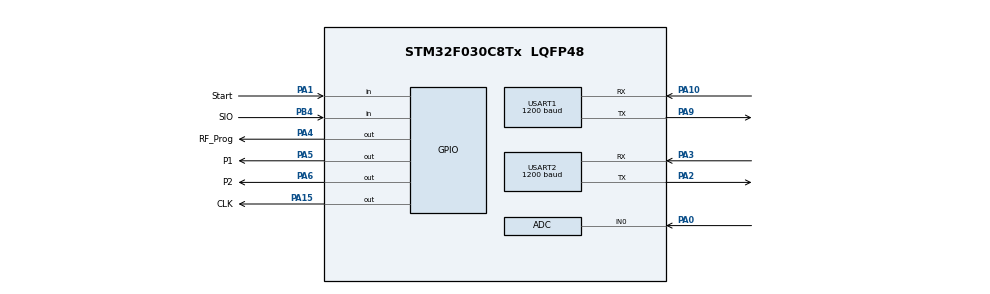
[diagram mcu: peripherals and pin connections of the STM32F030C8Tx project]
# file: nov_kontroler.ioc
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ADC.SamplingTime=ADC_SAMPLETIME_55CYCLES_5
IWDG.Prescaler=IWDG_PRESCALER_256
Mcu.Family=STM32F0
Mcu.Name=STM32F030C8Tx
Mcu.Package=LQFP48
NVIC.ADC1_IRQn=true\:0\:0\:false\:false\:true\:true\:true\:true
NVIC.USART1_IRQn=true\:0\:0\:false\:false\:true\:true\:true\:true
NVIC.USART2_IRQn=true\:0\:0\:false\:false\:true\:true\:true\:true
PA0.Mode=IN0
PA0.Signal=ADC_IN0
PA1.GPIO_Label=Start
PA1.GPIO_PuPd=GPIO_PULLUP
PA1.Signal=GPIO_Input
PA10.GPIO_PuPd=GPIO_PULLUP
PA10.Mode=Asynchronous
PA10.Signal=USART1_RX
PA13.Mode=Serial_Wire
PA13.Signal=SYS_SWDIO
PA14.Mode=Serial_Wire
PA14.Signal=SYS_SWCLK
PA15.GPIO_Label=CLK
PA15.Signal=GPIO_Output
PA2.Mode=Asynchronous
PA2.Signal=USART2_TX
PA3.GPIO_PuPd=GPIO_PULLUP
PA3.Mode=Asynchronous
PA3.Signal=USART2_RX
PA4.GPIO_Label=RF_Prog
PA4.PinState=GPIO_PIN_SET
PA4.Signal=GPIO_Output
PA5.GPIO_Label=P1
PA5.Signal=GPIO_Output
PA6.GPIO_Label=P2
PA6.Signal=GPIO_Output
PA9.Mode=Asynchronous
PA9.Signal=USART1_TX
PB4.GPIO_Label=SIO
PB4.Signal=GPIO_Input
ProjectManager.HeapSize=0x200
ProjectManager.StackSize=0x400
ProjectManager.TargetToolchain=STM32CubeIDE
TIM1.Prescaler=0
TIM17.Period=0xFFFF
USART1.BaudRate=1200
USART1.DMADisableonRxErrorParam=ADVFEATURE_DMA_DISABLEONRXERROR
USART1.OverSampling=UART_OVERSAMPLING_8
USART1.VirtualMode-Asynchronous=VM_ASYNC
USART2.BaudRate=1200
USART2.DMADisableonRxErrorParam=ADVFEATURE_DMA_DISABLEONRXERROR
USART2.OneBitSampling=UART_ONE_BIT_SAMPLE_DISABLE
USART2.OverSampling=UART_OVERSAMPLING_8
USART2.RxPinLevelInvertParam=ADVFEATURE_RXINV_DISABLE
USART2.StopBits=STOPBITS_1
USART2.TxPinLevelInvertParam=ADVFEATURE_TXINV_DISABLE
USART2.VirtualMode-Asynchronous=VM_ASYNC
VP_IWDG_VS_IWDG.Mode=IWDG_Activate
VP_RTC_VS_RTC_Activate.Mode=RTC_Enabled
VP_TIM17_VS_ClockSourceINT.Mode=Enable_Timer
VP_TIM1_VS_ClockSourceINT.Mode=Internal
board=custom

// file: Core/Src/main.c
/* USER CODE BEGIN Header */
/**
  ******************************************************************************
  * @file           : main.c
  * @brief          : Main program body
  ******************************************************************************
  * @attention
  *
  * <h2><center>&copy; Copyright (c) 2024 STMicroelectronics.
  * All rights reserved.</center></h2>
  *
  * This software component is licensed by ST under BSD 3-Clause license,
  * the "License"; You may not use this file except in compliance with the
  * License. You may obtain a copy of the License at:
  *                        opensource.org/licenses/BSD-3-Clause
  *
  ******************************************************************************
  */
/* USER CODE END Header */
#include "main.h"

/* USER CODE BEGIN Includes */
#include "../../Drivers/tm1637.h"
#include "eeprom.h"
#include "math.h"
#include "stdlib.h"
/* USER CODE END Includes */

/* USER CODE BEGIN PD */
// Virtual addreses
#define ADDRESS_HOURS_H		1
#define ADDRESS_HOURS_L		2
#define ADDRESS_MINUTES		3
#define ADDRESS_ADDRESSE	4
#define ADDRESS_PRE_TIME	5
#define ADDRESS_COOL_TIME	6
#define ADDRESS_RF_CHANNEL	7
#define ADDRESS_TEMP_MIN	8
#define ADDRESS_TEMP_MAX	9

#define FLASH_DIVIDER  0x10

// Buttons
#define BUTTON_START     (1)
#define BUTTON_PLUS      (2)
#define BUTTON_STOP      (3)
#define BUTTON_MINUS     (4)

#define STATUS_FREE    (0L)
#define STATUS_WAITING (3L)
#define STATUS_WORKING (1L)
#define STATUS_COOLING (2L)
#define MULTIPLIER     (1)
#define START_COUNTER_TIME  (1000L*MULTIPLIER)
#define ENTER_SERVICE_DELAY (500L*MULTIPLIER)
#define SERVICE_NEXT_DELAY  (100*MULTIPLIER)
#define EXIT_SERVICE_TIME   (3000L*MULTIPLIER)

/* USER CODE END PD */

ADC_HandleTypeDef hadc;

IWDG_HandleTypeDef hiwdg;

RTC_HandleTypeDef hrtc;

TIM_HandleTypeDef htim1;
TIM_HandleTypeDef htim17;

UART_HandleTypeDef huart1;
UART_HandleTypeDef huart2;

/* USER CODE BEGIN PV */
typedef enum states {state_show_time,state_set_time,state_show_hours,state_enter_service,state_clear_hours,state_address,state_pre_time,state_cool_time, state_rf_channel}states;
states state;
typedef enum modes {mode_null,mode_clear_hours,mode_set_address,mode_set_pre_time,mode_set_cool_time,mode_set_rf_channel}modes;
modes service_mode;
static uint8_t update_HC12_requested = 0;
uint8_t current_state = 0;
static uint16_t seconds_counter;
static uint16_t minutes_counter;
static uint16_t msec_counter=0;

unsigned char controller_address = 0x0e;
int curr_status;
int prev_status;

int flash_counter = 0;
volatile uint32_t g_ADCValue;
volatile uint32_t raw_temp;
volatile uint32_t g_ADCMeanValue;
uint32_t g_MeasurementNumber;
uint32_t g_Temperature;

uint8_t data = 0;
unsigned int   time_to_set = 0;
unsigned int   work_hours[3] = {0,0,0}; //HH HL MM - Hours[2], Minutes[1]
unsigned char  preset_pre_time = 7;
unsigned char  preset_cool_time = 3;
unsigned char  temp_min_threshold;
unsigned char  temp_max_threshold;
unsigned char  rf_channel = 0;
unsigned char  lamps_mode = 0;
unsigned char  temperature_current;
unsigned char  last_rx_address;
unsigned int   error_code;
int flash_mode = 0;
int start_counter = 0;
int last_button = 0;
int prev_button = 0;
display_data_t display_data = {0,0,0,0,255};

// Timers in seconds
int pre_time;
int main_time;
int cool_time;
// Current time counter in seconds
int *curr_time = &pre_time;
int useUart=0;

unsigned int Gv_miliseconds = 0;
int Gv_UART_Timeout = 1000; // Timeout in mSec
int pre_time_sent = 0, main_time_sent = 0, cool_time_sent = 0;
int rx_state= 0;

flash_struct flash_data;
uint16_t VirtAddVarTab[] = {1,2,3,4,5,6,7,8,9,10,11,12,13,14};//sizeof(flash_data)/2];

/* USER CODE END PV */

void SystemClock_Config(void);
static void MX_GPIO_Init(void);
static void MX_ADC_Init(void);
static void MX_IWDG_Init(void);
static void MX_TIM1_Init(void);
static void MX_USART1_UART_Init(void);
static void MX_USART2_UART_Init(void);
static void MX_RTC_Init(void);
static void MX_TIM17_Init(void);
/* USER CODE BEGIN PFP */

void update_status(void);
void process_key(uint8_t key);
void ProcessButtons(void);
void new_read_eeprom(void);
void new_write_eeprom(void);
float analog2tempBed(int raw);
int ToBCD(unsigned int value);
int FromBCD(int value);
void write_stored_time(void);
void write_settings(void);
void read_settings(void);
void SetDisplayDataInt(unsigned value);
void relay_fan_on();
void relay_fan_off();
void relay_lampi_on();
void relay_lampi_off();
void UART_RxISR(UART_HandleTypeDef *huart);

/* USER CODE END PFP */

/* USER CODE BEGIN 0 */

HAL_StatusTypeDef HC12_SetParams(uint8_t channel)
{
    if (channel < 1 || channel > 127)
        return HAL_ERROR;

    static const char setPowerCmd[] = "AT+P4\r\n";
    char chanCmd[10];   // only needs ~7 bytes, but this is still tiny
    HAL_GPIO_WritePin(GPIOA, RF_Prog_Pin, GPIO_PIN_RESET);
    HAL_Delay(100);
    // Send power command
    if (HAL_UART_Transmit(&huart1, (uint8_t*)setPowerCmd, sizeof(setPowerCmd)-1, 100) != HAL_OK)
        return HAL_ERROR;

    HAL_Delay(100);

    // Build channel command: "AT+C###\r\n"
    chanCmd[0] = 'A';
    chanCmd[1] = 'T';
    chanCmd[2] = '+';
    chanCmd[3] = 'C';
    chanCmd[4] = (channel / 100) + '0';
    chanCmd[5] = ((channel / 10) % 10) + '0';
    chanCmd[6] = (channel % 10) + '0';
    chanCmd[7] = '\r';
    chanCmd[8] = '\n';
    chanCmd[9] = '\0'; // safety / not required by HAL
    HAL_StatusTypeDef status = HAL_UART_Transmit(&huart1, (uint8_t*)chanCmd, 9, 100);
    HAL_Delay(100);
    HAL_GPIO_WritePin(GPIOA, RF_Prog_Pin, GPIO_PIN_RESET);
    if(status!= HAL_OK)
        return HAL_ERROR;

    return HAL_OK;
}

void delay_us (uint16_t us)
{
	__HAL_TIM_SET_COUNTER(&htim17,0);  // set the counter value a 0
	while (__HAL_TIM_GET_COUNTER(&htim17) < us);  // wait for the counter to reach the us input in the parameter
}
/* USER CODE END 0 */

int main(void)
{
	__disable_irq();

  /* MCU Configuration--------------------------------------------------------*/

  /* Reset of all peripherals, Initializes the Flash interface and the Systick. */
  HAL_Init();

  /* Configure the system clock */
  SystemClock_Config();

  __disable_irq();

  /* Initialize all configured peripherals */
  MX_GPIO_Init();
  MX_ADC_Init();
  MX_IWDG_Init();
  MX_TIM1_Init();
  MX_USART1_UART_Init();
  MX_USART2_UART_Init();
  MX_RTC_Init();
  MX_TIM17_Init();
  /* USER CODE BEGIN 2 */
  __enable_irq();
  TM1637_init(true,TM1637_BRIGHTNESS_MAX);
  HAL_Delay(100);
  TM1637_init(true,TM1637_BRIGHTNESS_MAX);
  TM1637_display_digit(0,10);
  TM1637_display_digit(1,11);
  TM1637_display_digit(2,12);
  TM1637_display_digit(3,0);
  EE_Init();
  read_settings();
  /* USER CODE END 2 */

  /* Infinite loop */
  /* USER CODE BEGIN WHILE */
  while (1)
  {
    static uint8_t colon;
    colon++;
	HAL_Delay(10);
	HAL_UART_Receive_IT(&huart2, &data, 1);
	HAL_UART_Receive_IT(&huart1, &data, 1);

    /* USER CODE END WHILE */

    /* USER CODE BEGIN 3 */

	last_button = TM1637_getKeys();
	if(HAL_GPIO_ReadPin(Start_GPIO_Port, Start_Pin) == 0){
		last_button |= BUTTON_START;
	}
//	if(button > 0) {
//		TM1637_display_digit(3,key);
//	}

	//-------------------

	if ((state < state_enter_service) && ((flash_counter >> 4) & 1))
	{
//		if (controller_address == 15) {
//			external_read = (external_read << 1) | (!!(GPIOB->IDR & GPIO_IDR_IDR7));
//			if (!main_time && (!external_read)) {
//				if (curr_status != STATUS_COOLING) {
//					main_time = -1;
//					cool_time = preset_cool_time;
//					Gv_miliseconds = 0;
//					flash_mode = 0;
//					state = state_set_time;
//					update_status();
//				}
//			}
//			if (main_time && !~external_read) {
//				main_time = 0;
//				Gv_miliseconds = 0;
//				update_status();
//			}
//		}
	}
	HAL_GPIO_TogglePin(GPIOB, GPIO_PIN_9);
	ProcessButtons();
	switch (state) {
	case state_show_time:
	case state_set_time:
		if (!pre_time && !main_time && !cool_time) {
			flash_mode = 0;
			state = state_set_time;
			SetDisplayDataMinSec(time_to_set*60);
			TM1637_display_colon(1);
			//				display_data = ToBCD(last_button); //Debug
		}
		else if (!pre_time && !main_time && cool_time)
		{
			TM1637_display_colon(1);
			if(flash_counter & 0x20)
			{
				SetDisplayDataInt(0xFFFF);
			}
			else
			{
				SetDisplayDataMinSec(cool_time);
			}
		}
		else {
			state = state_show_time;
			//				  time_to_set = 0;
			SetDisplayDataMinSec(*curr_time);
			if(curr_status == STATUS_WORKING )
			{
				TM1637_display_colon(seconds_counter &1);
			}
			else
			{
				TM1637_display_colon(1);
			}

			//				display_data = ToBCD(last_button); //Debug
		}
		break;
	case state_show_hours:

		if (flash_mode != 3) {
			flash_mode = 3; // All flashing
		}
		{
			int index = ((flash_counter /FLASH_DIVIDER)) % 8;
			if ((index < 6) && (index & 1)) {
				SetDisplayDataInt(work_hours[index/2]);
			}
			else {
				SetDisplayDataInt(0xFFFF);
			}
		}
		break;
	case state_enter_service:
		SetDisplayDataInt(service_mode | 0xF0);
		flash_mode = 0;
		break;

	case state_clear_hours:
		//			flash_mode = 3;
		if ((flash_counter /FLASH_DIVIDER) & 1) {
			SetDisplayDataInt(0xFFFC);
		}
		else {
			SetDisplayDataInt(0xFFFF);
		}
		break;
	case state_address:
		flash_mode = 0;
		if ((flash_counter /FLASH_DIVIDER) & 1) {
			SetDisplayDataInt(controller_address);
		}
		else {
			SetDisplayDataInt(0xFFFA);
		}
		break;
	case state_pre_time:
		//			flash_mode = 3;
		if ((flash_counter /FLASH_DIVIDER) & 1) {
			SetDisplayDataInt(preset_pre_time);
		}
		else {
			SetDisplayDataInt(0xFFF3);
		}
		break;
	case state_cool_time:
		//			flash_mode = 3;
		if ((flash_counter /FLASH_DIVIDER) & 1) {
			SetDisplayDataInt(preset_cool_time);
		}
		else {
			SetDisplayDataInt(0xFFF4);
		}
		break;
	case state_rf_channel:
		//			flash_mode = 3;
		if ((flash_counter /FLASH_DIVIDER) & 1) {
			SetDisplayDataInt(ToBCD(rf_channel));
		}
		else {
			SetDisplayDataInt(0xFFF5);
		}
		break;
	}
	//		show_digit(display_data);
	if (state == state_show_time) {
		if (!(pre_time || main_time || cool_time)) {
			// Some Paranoia...
			// turn off all
//			set_lamps(OFF);
//			percent_fan1 = 0;
//			set_fan1(0);

			//				state = state_set_time;
		}
	}
	//
	//		while (USART_GetFlagStatus(USART1, USART_FLAG_RXNE) == RESET); // wAIT UNTIL RX BUFFER IS EMPTY
	//		int data =  USART_ReceiveData(USART1);
	//		USART_SendData(USART1,0x80);
	//				while (USART_GetFlagStatus(USART1, USART_FLAG_TXE) == RESET); // wAIT UNTIL TX BUFFER IS EMPTY
	if (pre_time) {
		// Indicate pre_time by moving bars
//		ShowBarIndicators((flash_counter >> 4) %10, (flash_counter >> 4) % 10);
	}
	else if (cool_time) {
//		ShowBarIndicators(volume_level, fan_level);
	}

	HAL_Delay(10);

	//Uncomment to check temperature
	if ((last_button == BUTTON_STOP) && (curr_status == STATUS_FREE))
	{
		SetDisplayDataInt(ToBCD(g_Temperature));
//		SetDisplayDataInt(ToBCD(g_ADCMeanValue));
	}
	if(error_code)
	{
		SetDisplayDataInt(error_code);
	}
	TM1637_set_brightness(display_data.brightness);
	TM1637_display_digit(3,display_data.digit_3);
	TM1637_display_digit(2,display_data.digit_2);
	TM1637_display_digit(1,display_data.digit_1);
	TM1637_display_digit(0,display_data.digit_0);
	flash_counter++;
	if(	(temp_max_threshold > 0) && (g_Temperature > 0))
	{
		if((g_Temperature > temp_max_threshold))
		{
//			percent_fan1 = 10;
//			set_fan1(percent_fan1);
			if(curr_status == STATUS_WORKING)
			{
				main_time = 0;
				pre_time = 0;
				update_status();
			}
			error_code = 0xFE1;
		}
		else
		{
			if((main_time == 0) && (cool_time == 0))
			{
//				percent_fan1 = 0;
//				set_fan1(0);
			}
		}
	}
	if( (curr_status == STATUS_WORKING) && /*(percent_fan1 == 0) &&*/ (g_Temperature > 70)) // 70 degrees
	{
//		percent_fan1 = 3;
//		set_fan1(percent_fan1);
	}
	/* Reload IWDG counter */
	HAL_IWDG_Refresh(&hiwdg);
	if(update_HC12_requested) {
		HC12_SetParams(rf_channel);
		update_HC12_requested = 0;
	}

  }
  /* USER CODE END 3 */
}

void SystemClock_Config(void)
{
  RCC_OscInitTypeDef RCC_OscInitStruct = {0};
  RCC_ClkInitTypeDef RCC_ClkInitStruct = {0};
  RCC_PeriphCLKInitTypeDef PeriphClkInit = {0};

  /** Initializes the RCC Oscillators according to the specified parameters
  * in the RCC_OscInitTypeDef structure.
  */
  RCC_OscInitStruct.OscillatorType = RCC_OSCILLATORTYPE_HSI|RCC_OSCILLATORTYPE_HSI14
                              |RCC_OSCILLATORTYPE_LSI;
  RCC_OscInitStruct.HSIState = RCC_HSI_ON;
  RCC_OscInitStruct.HSI14State = RCC_HSI14_ON;
  RCC_OscInitStruct.HSICalibrationValue = RCC_HSICALIBRATION_DEFAULT;
  RCC_OscInitStruct.HSI14CalibrationValue = 16;
  RCC_OscInitStruct.LSIState = RCC_LSI_ON;
  RCC_OscInitStruct.PLL.PLLState = RCC_PLL_NONE;
  if (HAL_RCC_OscConfig(&RCC_OscInitStruct) != HAL_OK)
  {
    Error_Handler();
  }

  /** Initializes the CPU, AHB and APB buses clocks
  */
  RCC_ClkInitStruct.ClockType = RCC_CLOCKTYPE_HCLK|RCC_CLOCKTYPE_SYSCLK
                              |RCC_CLOCKTYPE_PCLK1;
  RCC_ClkInitStruct.SYSCLKSource = RCC_SYSCLKSOURCE_HSI;
  RCC_ClkInitStruct.AHBCLKDivider = RCC_SYSCLK_DIV1;
  RCC_ClkInitStruct.APB1CLKDivider = RCC_HCLK_DIV1;

  if (HAL_RCC_ClockConfig(&RCC_ClkInitStruct, FLASH_LATENCY_0) != HAL_OK)
  {
    Error_Handler();
  }
  PeriphClkInit.PeriphClockSelection = RCC_PERIPHCLK_USART1|RCC_PERIPHCLK_RTC;
  PeriphClkInit.Usart1ClockSelection = RCC_USART1CLKSOURCE_PCLK1;
  PeriphClkInit.RTCClockSelection = RCC_RTCCLKSOURCE_LSI;
  if (HAL_RCCEx_PeriphCLKConfig(&PeriphClkInit) != HAL_OK)
  {
    Error_Handler();
  }
}

static void MX_ADC_Init(void)
{

  ADC_ChannelConfTypeDef sConfig = {0};

  /** Configure the global features of the ADC (Clock, Resolution, Data Alignment and number of conversion)
  */
  hadc.Instance = ADC1;
  hadc.Init.ClockPrescaler = ADC_CLOCK_ASYNC_DIV1;
  hadc.Init.Resolution = ADC_RESOLUTION_12B;
  hadc.Init.DataAlign = ADC_DATAALIGN_RIGHT;
  hadc.Init.ScanConvMode = ADC_SCAN_DIRECTION_FORWARD;
  hadc.Init.EOCSelection = ADC_EOC_SINGLE_CONV;
  hadc.Init.LowPowerAutoWait = DISABLE;
  hadc.Init.LowPowerAutoPowerOff = DISABLE;
  hadc.Init.ContinuousConvMode = DISABLE;
  hadc.Init.DiscontinuousConvMode = DISABLE;
  hadc.Init.ExternalTrigConv = ADC_SOFTWARE_START;
  hadc.Init.ExternalTrigConvEdge = ADC_EXTERNALTRIGCONVEDGE_NONE;
  hadc.Init.DMAContinuousRequests = DISABLE;
  hadc.Init.Overrun = ADC_OVR_DATA_PRESERVED;
  if (HAL_ADC_Init(&hadc) != HAL_OK)
  {
    Error_Handler();
  }

  /** Configure for the selected ADC regular channel to be converted.
  */
  sConfig.Channel = ADC_CHANNEL_0;
  sConfig.Rank = ADC_RANK_CHANNEL_NUMBER;
  sConfig.SamplingTime = ADC_SAMPLETIME_55CYCLES_5;
  if (HAL_ADC_ConfigChannel(&hadc, &sConfig) != HAL_OK)
  {
    Error_Handler();
  }

}

static void MX_IWDG_Init(void)
{

  hiwdg.Instance = IWDG;
  hiwdg.Init.Prescaler = IWDG_PRESCALER_256;
  hiwdg.Init.Window = 4095;
  hiwdg.Init.Reload = 4095;
  if (HAL_IWDG_Init(&hiwdg) != HAL_OK)
  {
    Error_Handler();
  }

}

static void MX_RTC_Init(void)
{

  /** Initialize RTC Only
  */
  hrtc.Instance = RTC;
  hrtc.Init.HourFormat = RTC_HOURFORMAT_24;
  hrtc.Init.AsynchPrediv = 127;
  hrtc.Init.SynchPrediv = 255;
  hrtc.Init.OutPut = RTC_OUTPUT_DISABLE;
  hrtc.Init.OutPutPolarity = RTC_OUTPUT_POLARITY_HIGH;
  hrtc.Init.OutPutType = RTC_OUTPUT_TYPE_OPENDRAIN;
  if (HAL_RTC_Init(&hrtc) != HAL_OK)
  {
    Error_Handler();
  }

}

static void MX_TIM1_Init(void)
{

  TIM_ClockConfigTypeDef sClockSourceConfig = {0};
  TIM_MasterConfigTypeDef sMasterConfig = {0};

  htim1.Instance = TIM1;
  htim1.Init.Prescaler = 0;
  htim1.Init.CounterMode = TIM_COUNTERMODE_UP;
  htim1.Init.Period = 65535;
  htim1.Init.ClockDivision = TIM_CLOCKDIVISION_DIV1;
  htim1.Init.RepetitionCounter = 0;
  htim1.Init.AutoReloadPreload = TIM_AUTORELOAD_PRELOAD_DISABLE;
  if (HAL_TIM_Base_Init(&htim1) != HAL_OK)
  {
    Error_Handler();
  }
  sClockSourceConfig.ClockSource = TIM_CLOCKSOURCE_INTERNAL;
  if (HAL_TIM_ConfigClockSource(&htim1, &sClockSourceConfig) != HAL_OK)
  {
    Error_Handler();
  }
  sMasterConfig.MasterOutputTrigger = TIM_TRGO_RESET;
  sMasterConfig.MasterSlaveMode = TIM_MASTERSLAVEMODE_DISABLE;
  if (HAL_TIMEx_MasterConfigSynchronization(&htim1, &sMasterConfig) != HAL_OK)
  {
    Error_Handler();
  }

}

static void MX_TIM17_Init(void)
{

  htim17.Instance = TIM17;
  htim17.Init.Prescaler = 0;
  htim17.Init.CounterMode = TIM_COUNTERMODE_UP;
  htim17.Init.Period = 0xFFFF;
  htim17.Init.ClockDivision = TIM_CLOCKDIVISION_DIV1;
  htim17.Init.RepetitionCounter = 0;
  htim17.Init.AutoReloadPreload = TIM_AUTORELOAD_PRELOAD_DISABLE;
  if (HAL_TIM_Base_Init(&htim17) != HAL_OK)
  {
    Error_Handler();
  }
  /* USER CODE BEGIN TIM17_Init 2 */
  HAL_TIM_Base_Start(&htim17);
  /* USER CODE END TIM17_Init 2 */

}

static void MX_USART1_UART_Init(void)
{

  huart1.Instance = USART1;
  huart1.Init.BaudRate = 1200;
  huart1.Init.WordLength = UART_WORDLENGTH_8B;
  huart1.Init.StopBits = UART_STOPBITS_1;
  huart1.Init.Parity = UART_PARITY_NONE;
  huart1.Init.Mode = UART_MODE_TX_RX;
  huart1.Init.HwFlowCtl = UART_HWCONTROL_NONE;
  huart1.Init.OverSampling = UART_OVERSAMPLING_8;
  huart1.Init.OneBitSampling = UART_ONE_BIT_SAMPLE_DISABLE;
  huart1.AdvancedInit.AdvFeatureInit = UART_ADVFEATURE_DMADISABLEONERROR_INIT;
  huart1.AdvancedInit.DMADisableonRxError = UART_ADVFEATURE_DMA_DISABLEONRXERROR;
  if (HAL_UART_Init(&huart1) != HAL_OK)
  {
    Error_Handler();
  }
  /* USER CODE BEGIN USART1_Init 2 */
//  huart1.RxISR = UART_RxISR;
  /* USER CODE END USART1_Init 2 */

}

static void MX_USART2_UART_Init(void)
{

  huart2.Instance = USART2;
  huart2.Init.BaudRate = 1200;
  huart2.Init.WordLength = UART_WORDLENGTH_8B;
  huart2.Init.StopBits = UART_STOPBITS_1;
  huart2.Init.Parity = UART_PARITY_NONE;
  huart2.Init.Mode = UART_MODE_TX_RX;
  huart2.Init.HwFlowCtl = UART_HWCONTROL_NONE;
  huart2.Init.OverSampling = UART_OVERSAMPLING_8;
  huart2.Init.OneBitSampling = UART_ONE_BIT_SAMPLE_DISABLE;
  huart2.AdvancedInit.AdvFeatureInit = UART_ADVFEATURE_DMADISABLEONERROR_INIT;
  huart2.AdvancedInit.DMADisableonRxError = UART_ADVFEATURE_DMA_DISABLEONRXERROR;
  if (HAL_UART_Init(&huart2) != HAL_OK)
  {
    Error_Handler();
  }
  /* USER CODE BEGIN USART2_Init 2 */
//  huart2.RxISR = UART_RxISR;
  /* USER CODE END USART2_Init 2 */

}

static void MX_GPIO_Init(void)
{
  GPIO_InitTypeDef GPIO_InitStruct = {0};

  /* GPIO Ports Clock Enable */
  __HAL_RCC_GPIOA_CLK_ENABLE();
  __HAL_RCC_GPIOB_CLK_ENABLE();

  /*Configure GPIO pin Output Level */
  HAL_GPIO_WritePin(RF_Prog_GPIO_Port, RF_Prog_Pin, GPIO_PIN_SET);

  /*Configure GPIO pin Output Level */
  HAL_GPIO_WritePin(GPIOA, P1_Pin|P2_Pin|CLK_Pin, GPIO_PIN_RESET);

  /*Configure GPIO pin : Start_Pin */
  GPIO_InitStruct.Pin = Start_Pin;
  GPIO_InitStruct.Mode = GPIO_MODE_INPUT;
  GPIO_InitStruct.Pull = GPIO_PULLUP;
  HAL_GPIO_Init(Start_GPIO_Port, &GPIO_InitStruct);

  /*Configure GPIO pins : RF_Prog_Pin P1_Pin P2_Pin CLK_Pin */
  GPIO_InitStruct.Pin = RF_Prog_Pin|P1_Pin|P2_Pin|CLK_Pin;
  GPIO_InitStruct.Mode = GPIO_MODE_OUTPUT_PP;
  GPIO_InitStruct.Pull = GPIO_NOPULL;
  GPIO_InitStruct.Speed = GPIO_SPEED_FREQ_LOW;
  HAL_GPIO_Init(GPIOA, &GPIO_InitStruct);

  /*Configure GPIO pin : SIO_Pin */
  GPIO_InitStruct.Pin = SIO_Pin;
  GPIO_InitStruct.Mode = GPIO_MODE_INPUT;
  GPIO_InitStruct.Pull = GPIO_NOPULL;
  HAL_GPIO_Init(SIO_GPIO_Port, &GPIO_InitStruct);

}

/* USER CODE BEGIN 4 */
void process_key(uint8_t key) {

}

void read_stored_time(void)
{
	uint16_t  data;
	if(!EE_ReadVariable(ADDRESS_HOURS_H,  &data))
	{
		work_hours[0] = data;
	}
	else
	{
		work_hours[0] = 0;
	}
	if(!EE_ReadVariable(ADDRESS_HOURS_L,  &data))
	{
		work_hours[1] = data;
	}
	else
	{
		work_hours[1] = 0;
	}
	if(!EE_ReadVariable(ADDRESS_MINUTES,  &data))
	{
		work_hours[2] = data;
	}
	else
	{
		work_hours[2] = 0;
	}
}
void read_settings(void)
{
	uint8_t result = 0;
	uint16_t  data;

	result += EE_ReadVariable(ADDRESS_ADDRESSE,  &data);
	controller_address = data;
	result += EE_ReadVariable(ADDRESS_PRE_TIME,  &data);
	preset_pre_time = data;
	result += EE_ReadVariable(ADDRESS_COOL_TIME,  &data);
	preset_cool_time = data;
	result += EE_ReadVariable(ADDRESS_RF_CHANNEL,  &data);
	rf_channel = data;
	result += EE_ReadVariable(ADDRESS_TEMP_MIN,  &data);
	temp_min_threshold = data;
	result += EE_ReadVariable(ADDRESS_TEMP_MAX,  &data);
	temp_max_threshold = data;
	read_stored_time();

	if(result)
	{
		// Set defaults
		preset_pre_time = 7;
		preset_cool_time = 3;
		controller_address = 14;
		temp_min_threshold = 17;
		temp_max_threshold = 85;
		rf_channel = 0;
		work_hours[0] = 0;
		work_hours[1] = 0;
		work_hours[2] = 0;
		write_settings();
		write_stored_time();
	}
}

void write_settings(void)
{
	uint16_t counter;
	for(counter = 0; counter < 3; counter++)
	{
		if(FLASH_COMPLETE != EE_WriteVariable(ADDRESS_ADDRESSE,  controller_address))
		{
			// Second chance
			continue;
		}
		if(FLASH_COMPLETE != EE_WriteVariable(ADDRESS_PRE_TIME,  preset_pre_time))
		{
			// Second chance
			continue;
		}
		if(FLASH_COMPLETE != EE_WriteVariable(ADDRESS_COOL_TIME,  preset_cool_time))
		{
			// Second chance
			continue;
		}
		if(FLASH_COMPLETE != EE_WriteVariable(ADDRESS_RF_CHANNEL,  rf_channel))
		{
			// Second chance
			continue;
		}
		if(FLASH_COMPLETE != EE_WriteVariable(ADDRESS_TEMP_MIN,  temp_min_threshold))
		{
			// Second chance
			continue;
		}
		if(FLASH_COMPLETE != EE_WriteVariable(ADDRESS_TEMP_MAX,  temp_max_threshold))
		{
			// Second chance
			continue;
		}
		break;
	}
}

void write_stored_time(void)
{
	uint16_t counter;
	for(counter = 0; counter < 3; counter++)
	{
		if(FLASH_COMPLETE != EE_WriteVariable(ADDRESS_HOURS_H,  work_hours[0]))
		{
			// Second chance
			continue;
		}
		if(FLASH_COMPLETE != EE_WriteVariable(ADDRESS_HOURS_L,  work_hours[1]))
		{
			// Second chance
			continue;
		}
		if(FLASH_COMPLETE != EE_WriteVariable(ADDRESS_MINUTES,  work_hours[2]))
		{
			// Second chance
			continue;
		}
		break;
	}
}

void HAL_ADC_ConvCpltCallback(ADC_HandleTypeDef* AdcHandle)
  {
	//CorrectedValue = (((RawValue � RawLow) * ReferenceRange) / RawRange) + ReferenceLow
      g_ADCValue = HAL_ADC_GetValue(AdcHandle);
      if(!g_ADCMeanValue) {
    	  g_ADCMeanValue = g_ADCValue;
      }
      g_ADCMeanValue = (g_ADCMeanValue*9 + g_ADCValue)/10;
      g_MeasurementNumber++;
      g_Temperature = analog2tempBed(g_ADCMeanValue); // Must be an error...
      if(g_Temperature > 200)
      {
    	  g_Temperature = 0;
      }
//      g_Temperature = (g_Temperature*9 + (((g_ADCValue - ADC_0_DEGREE_VALUE)*366)/(ADC_36_6_DEGREE_VALUE - ADC_0_DEGREE_VALUE)) + 0)/10;
  }

void HAL_UART_RxCpltCallback(UART_HandleTypeDef *huart)
{
	 enum rxstates {rx_state_none, rx_state_pre_time, rx_state_main_time, rx_state_cool_time, rx_state_get_checksum};

	 /* If no error occurs */
	 {
		 /* UART in mode Receiver -------------------------------------------------*/
		 {
			 if ((data & 0x80)){
			 		last_rx_address = (data >> 3U)&0x0f;
			 		unsigned char addr_is_ok = 0;
		 			addr_is_ok = (last_rx_address == controller_address);
			 		if (!addr_is_ok) return;
			 		// Command
			 		if(addr_is_ok){
			 			Gv_UART_Timeout = 1500;
			 		}
			 		if((data & 0x07) == 0x00 ){ // Status
			 			uint16_t time = *curr_time/60;
			 			if (*curr_time) {
			 				// Compensate for int rounding
			 				time = time+1;
			 			}
			 			data = (curr_status<<6)| ToBCD(time);
			 //			data = (STATUS_WORKING<<6)|4;
			 			huart->Instance->TDR = data;
			 		}
			 		else if ((data & 0x07) == 1) //Command 1 - Start
			 		{
			 			if(main_time <= 2) { // Only use for test purposes
			 				pre_time = 0;
			 				update_status();
			 			}
			 		}
			 		else if ((data & 0x07) == 2)  //Command 2 == Pre_time_set
			 		{
			 			rx_state = rx_state_pre_time;
			 		}
			 		else if ((data & 0x07) == 5) //Command 5 == Main_time_set
			 		{
			 			rx_state = rx_state_main_time;
			 		}
			 		else if ((data & 0x07) == 3) //Command 3 == Cool_time_set
			 		{
			 			rx_state = rx_state_cool_time;
			 		}

			 	} else if (rx_state){
			 		// payload
			 		int time_in_hex = ToBCD(main_time_sent);
			 		if(rx_state == rx_state_get_checksum){
			 			int checksum = (pre_time_sent + cool_time_sent  - time_in_hex - 5) & 0x7F;
			 			if(	data == checksum){
			 				pre_time = pre_time_sent*60;
			 				main_time = main_time_sent*60;
			 				cool_time = cool_time_sent*60;
			 				update_status();
			 				Gv_miliseconds = 0;
			 			}
			 			rx_state = 0;
			 		}
			 		if(rx_state == rx_state_pre_time){
			 			pre_time_sent = data;
			 			rx_state = 0;
			 		}
			 		if(rx_state == rx_state_main_time){
			 			main_time_sent = FromBCD(data);
			 			rx_state = 0;
			 		}
			 		if(rx_state == rx_state_cool_time){
			 			cool_time_sent = data;
			 			rx_state = rx_state_get_checksum;
			 			int checksum = (pre_time_sent + cool_time_sent  - time_in_hex - 5) & 0x7F;
			 			data = checksum;
			 			huart->Instance->TDR = data;
			 		}

			 	}
		 }
	 }
	 // VERY IMPORTANT: re-arm RX
	 HAL_UART_Receive_IT(huart, &data, 1);
}

void HAL_UART_ErrorCallback(UART_HandleTypeDef *huart)
{
//    if (huart == &huart2)
    {
        // Reset protocol decoder

        rx_state = 0;

        // VERY IMPORTANT: re-arm RX
        HAL_UART_Receive_IT(huart, &data, 1);
    }
}

void user_systick_callback() {
	if(Gv_miliseconds++>1000L){
		Gv_miliseconds = 0;
		seconds_counter++;
		if (pre_time)
		{
//			play_message(1,message_hurry_up);
			pre_time--;
		}
		else if (main_time) {
			main_time--;
		}
		else if (cool_time) cool_time--;
		update_status();
		HAL_ADC_Start_IT(&hadc);
	}
	if  (Gv_UART_Timeout){
		Gv_UART_Timeout--;
		if(! Gv_UART_Timeout) {
			rx_state = 0;
			pre_time_sent = 0, main_time_sent = 0, cool_time_sent = 0;
		}
	}

//	msec_counter++;
//	if(msec_counter > 999) {
//		msec_counter = 0;
//		seconds_counter++;
//		if(seconds_counter > 59) {
//			seconds_counter = 0;
//			minutes_counter++;
//			if(minutes_counter > 99) {
//				minutes_counter = 0;
//			}
//		}
//	}
}

// 10k thermistor Chineese
const float temptable_10[][2] = {
  {    1 , 430 },
  {  2455 , 96 },
  {  3493, 36 },
  {  3726,  17.5 },
  {  3830,  3 },
  {  3845,  0 },
};
#define COUNT(a) (sizeof(a)/sizeof(*a))
#define BEDTEMPTABLE temptable_10
#define BEDTEMPTABLE_LEN COUNT(BEDTEMPTABLE)
float analog2tempBed(int raw) {

    float celsius = 0;
    unsigned char i;

    for (i = 1; i < BEDTEMPTABLE_LEN; i++) {
      if ((BEDTEMPTABLE[i][0]) > raw) {
        celsius  = BEDTEMPTABLE[i - 1][1] +
                   (raw - BEDTEMPTABLE[i - 1][0]) *
                   (float)(BEDTEMPTABLE[i][1] - BEDTEMPTABLE[i - 1][1]) /
                   (float)(BEDTEMPTABLE[i][0] - BEDTEMPTABLE[i - 1][0]);
        break;
      }
    }

    // Overflow: Set to last value in the table
    if (i == BEDTEMPTABLE_LEN) celsius = BEDTEMPTABLE[i - 1][1];

    return celsius;

}

int ToBCD(unsigned value){
	int digits[4];
	int result;
	digits[0] = value %10;
	digits[1] = (value/10) % 10;
	digits[2] = (value/100) % 10;
	digits[3] = (value/1000) % 10;
	result = digits[0] | (digits[1]<<4) | (digits[2]<<8) | (digits[3]<<12);
}

void SetDisplayDataMinSec(unsigned value){
	unsigned int seconds = value %60;
	unsigned int minutes = value /60;
	{
		display_data.digit_3 = seconds %10;
		display_data.digit_2  = (seconds/10) % 10;
		display_data.digit_1  = (minutes) % 10;
		display_data.digit_0  = (minutes/10) % 10;
	}
}

void SetDisplayDataInt(unsigned value){
	{
		display_data.digit_3 = value &0x0f;
		display_data.digit_2  = (value>>4) &0x0f;
		display_data.digit_1  = (value>>8) &0x0f;
		display_data.digit_0  = (value>>12) &0x0f;
	}
}

int FromBCD(int value){
	int digits[4];
	int result;
	digits[0] = value & 0x0F;
	digits[1] = (value>>4) & 0x0F;
	digits[2] = (value>>8) & 0x0F;
	digits[3] = (value>>12) & 0x0F;
	result = digits[0] + digits[1]*10 + digits[2]*100 + digits[3]*1000;
	return result;
}

/**
 * @brief  Manage the activity on buttons
 * @param  None
 * @retval None
 */
void ProcessButtons(void)
{

	if (last_button) {
		if (last_button != prev_button) {
			switch (last_button) {
			case BUTTON_START:
				if(error_code)
				{
					error_code = 0;
				}
				if (pre_time) {
					//send_start();
					Gv_miliseconds = 0;
					pre_time = 0;
					state = state_show_time;
					update_status();
					if((temp_min_threshold > 0) && (g_Temperature > 0) && (g_Temperature < temp_min_threshold))
					{
					}
					else
					{
					}
				}
				if (!pre_time && !main_time && !cool_time) {
					if (time_to_set) {
						// Send of time moved elsewhere
						pre_time = preset_pre_time*60;
						main_time = time_to_set*60;
						cool_time = preset_cool_time*60;
						state = state_show_time;
						time_to_set = 0;
						Gv_miliseconds = 0;
						update_status();
						//						play_message(0);
					}
					else {

							// Write EEPROM
						if (state == state_clear_hours)
						{
							work_hours[0] = 0;
							work_hours[1] = 0;
							work_hours[2] = 0;

							write_stored_time();
							start_counter = 0;
							service_mode = mode_null;
						}
						else if (state > state_enter_service)
						{
							write_settings();
							service_mode = mode_null;
							if (state == state_address) {
//								init_periph();
							}
							if(state == state_rf_channel){
								update_HC12_requested = true;
							}
							start_counter = 0;
						}
						else {
							start_counter = START_COUNTER_TIME;
						}
						state = state_show_hours;
						flash_counter = 0;
					}
				}
				break;
			case BUTTON_STOP:
				if (curr_status == STATUS_FREE) {
					time_to_set = 0;
					update_status();
				}
				if (curr_status == STATUS_WAITING) {
					main_time = 0;
					pre_time = 0;
					cool_time = 0;
					update_status();
				}
				if (curr_status == STATUS_WORKING) {
					main_time = 0;
					pre_time = 0;
					update_status();
//					percent_fan1 = 10;
//					set_fan1(percent_fan1);
				}
				if (curr_status == STATUS_COOLING) {
					cool_time = 0;
					update_status();
//					percent_fan1 = 10;
//					set_fan1(percent_fan1);
				}
				if (state >= state_enter_service) {
					start_counter = 0;
					state = state_show_time;
					service_mode = mode_null;
				}
				break;
			case BUTTON_PLUS:
			{
				if (state == state_show_hours) {
					state = state_set_time;
					start_counter = 0;
				}
				if (state == state_set_time) {
					if (time_to_set < 60L) { // Limit max time
						if (!useUart) time_to_set++;
					}
					else
					{
						while (1); // Reboot device using WatchDog
					}
				}
				else if (state > state_enter_service) {
					start_counter = EXIT_SERVICE_TIME;
					switch (service_mode) {
					case mode_set_address:
						if (controller_address < 15) controller_address++;
						break;
					case mode_set_pre_time:
						if (preset_pre_time < 9) preset_pre_time++;
						break;
					case mode_set_cool_time:
						if (preset_cool_time < 9) preset_cool_time++;
						break;
					case mode_set_rf_channel:
						if (rf_channel < 127) rf_channel++;
						break;
					default:
						break;
					}
				}

			}
			break;
			case BUTTON_MINUS:
				if (state == state_show_hours) {
					state = state_set_time;
					start_counter = 0;
				}
				if (state == state_set_time) {
					if (time_to_set) {
						if (!useUart)  time_to_set--;
					}
				}
				else if (state > state_enter_service) {
					start_counter = EXIT_SERVICE_TIME;
					switch (service_mode) {
					case mode_set_address:
						if (controller_address) controller_address--;
						break;
					case mode_set_pre_time:
						if (preset_pre_time) preset_pre_time--;
						break;
					case mode_set_cool_time:
						if (preset_cool_time) preset_cool_time--;
						break;
					case mode_set_rf_channel:
						if(rf_channel > 1) rf_channel--;
						else rf_channel = 1;
						break;
					default:
						break;
					}
				}
				//				if(selected_led_bits & LED_FAN2_L){
				//					if(percent_fan2) percent_fan2 = 0;
				//					set_fan2(percent_fan2);
				//				} else if(selected_led_bits & LED_FAN1_L){
				//					if(percent_fan1) percent_fan1-=25;
				//					set_fan1(percent_fan1);
				//				}
				//				else if(selected_led_bits & LED_LICEVI_L){
				//					if(percent_licevi) percent_licevi=0;
				//					set_licevi_lamps(percent_licevi);
				//					update_status();
				//				}

				break;
			default:
				while (0);
			}
		}
	}
	prev_button = last_button;

	if (last_button == BUTTON_START)
	{
		// LED1_ON;
		if (start_counter < (START_COUNTER_TIME + ENTER_SERVICE_DELAY + 6 * SERVICE_NEXT_DELAY)) start_counter++;
		if (start_counter == START_COUNTER_TIME + ENTER_SERVICE_DELAY) {
			if (curr_status == STATUS_FREE && (state < state_enter_service))
			{
				state = state_enter_service;
				service_mode = mode_clear_hours; // Clear Hours
			}
		}
		if (state == state_enter_service) {
			if (start_counter == START_COUNTER_TIME + ENTER_SERVICE_DELAY + 1 * SERVICE_NEXT_DELAY) {
				service_mode = mode_set_address; //
			}
			else if (start_counter == START_COUNTER_TIME + ENTER_SERVICE_DELAY + 2 * SERVICE_NEXT_DELAY) {
				service_mode = mode_set_pre_time; //
			}
			else if (start_counter == START_COUNTER_TIME + ENTER_SERVICE_DELAY + 3 * SERVICE_NEXT_DELAY) {
				service_mode = mode_set_cool_time; //
			}
			else if (start_counter == START_COUNTER_TIME + ENTER_SERVICE_DELAY + 4 * SERVICE_NEXT_DELAY) {
				service_mode = mode_set_rf_channel; //
			}
		}
//		set_start_out_signal(1);
	}
	else
	{
//		set_start_out_signal(0);
		if (start_counter) {
			if (state == state_show_hours) {
				start_counter--;
				if (!start_counter) {
					state = state_show_time;
				}
			}
			else if (state >= state_enter_service) {
				if (state == state_enter_service) {
					state = service_mode + state_enter_service;
				}
				start_counter--;
				if (!start_counter) {
					state = state_show_time;
//					new_write_eeprom();
//					new_read_eeprom();
				}
			}
			else {
				start_counter = 0;

			}
		}
	}

	if (prev_status != curr_status) {
		if (curr_status == STATUS_WORKING) {
			if (controller_address != 15) {
				work_hours[2] += main_time/60;
				if (work_hours[2] > 59L) {
					work_hours[2] = work_hours[2] - 60;
					work_hours[1]++;
					if (work_hours[1] > 99L) {
						work_hours[1] = 0;
						work_hours[0]++;
					}
				}
				write_stored_time();
			}
			flash_mode = 0;
//			set_lamps(100);
			if((temp_min_threshold > 0) && (g_Temperature > 0) && (g_Temperature < 70)) // 70 degrees
			{
//				percent_fan1 = 0;
			}
//			set_fan1(percent_fan1);
			relay_lampi_on();
			relay_fan_on();
		}
		if (curr_status == STATUS_COOLING) {
			if (controller_address == 15) {
				work_hours[2] += abs(main_time);
				if (work_hours[2] > 59L) {
					work_hours[2] = work_hours[2] - 60;
					work_hours[1]++;
					if (work_hours[1] > 99L) {
						work_hours[1] = 0;
						work_hours[0]++;
					}
				}
				write_stored_time();

			}
			relay_lampi_off();
			relay_fan_on();
//			percent_fan1 = 10L;
//			set_lamps(OFF);
			//			zero_crossed = 0;
//			stop_delay = 1000;
			//			set_colarium_lamps(0);
//			fan_level = 10;
//			set_fan1(percent_fan1);
			flash_mode = 3;
		}
		if (curr_status == STATUS_FREE) {
			relay_lampi_off();
			relay_fan_off();
//			set_lamps(OFF);
//			set_fan1(0);
			//			set_aquafresh(percent_aquafresh);
//			minute_counter = 0;
			flash_mode = 0;
		}
		prev_status = curr_status;

	}
	//    LED1_OFF;

}

//---------------------------------------------------------------
void update_status(void) {
	if (pre_time) {
		curr_time = &pre_time;
		curr_status = STATUS_WAITING;
	}
	else if (main_time) {
		curr_time = &main_time;
		curr_status = STATUS_WORKING;
	}
	else if (cool_time) {
		curr_time = &cool_time;
		curr_status = STATUS_COOLING;
	}
	else {
		curr_time = &main_time;
		curr_status = STATUS_FREE;
	}
}

//---------------------------------------------------------------
void relay_fan_on()
{
  HAL_GPIO_WritePin(P1_GPIO_Port, P2_Pin, GPIO_PIN_SET);
}
//---------------------------------------------------------------
void relay_fan_off()
{
  HAL_GPIO_WritePin(P1_GPIO_Port, P2_Pin, GPIO_PIN_RESET);
}
//---------------------------------------------------------------
void relay_lampi_on()
{
	HAL_GPIO_WritePin(P1_GPIO_Port, P1_Pin, GPIO_PIN_SET);
}
//---------------------------------------------------------------
void relay_lampi_off()
{
	HAL_GPIO_WritePin(P1_GPIO_Port, P1_Pin, GPIO_PIN_RESET);
}

/* USER CODE END 4 */

void Error_Handler(void)
{
}
